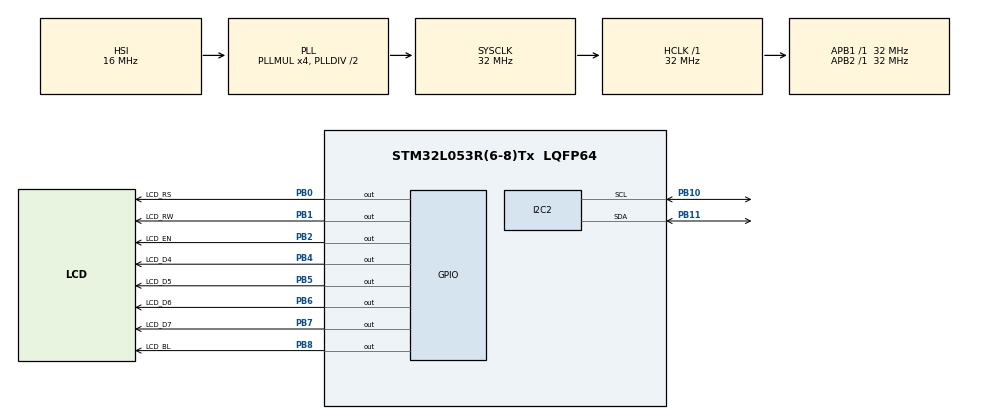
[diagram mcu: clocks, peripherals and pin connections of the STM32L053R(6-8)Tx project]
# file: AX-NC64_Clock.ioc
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I2C2.Speed=10
I2C2.Timing=0x6010C7FF
Mcu.Family=STM32L0
Mcu.Name=STM32L053R(6-8)Tx
Mcu.Package=LQFP64
PB0.GPIO_Label=LCD_RS
PB0.Signal=GPIO_Output
PB1.GPIO_Label=LCD_RW
PB1.Signal=GPIO_Output
PB10.Mode=I2C
PB10.Signal=I2C2_SCL
PB11.Mode=I2C
PB11.Signal=I2C2_SDA
PB2.GPIO_Label=LCD_EN
PB2.Signal=GPIO_Output
PB4.GPIO_Label=LCD_D4
PB4.Signal=GPIO_Output
PB5.GPIO_Label=LCD_D5
PB5.Signal=GPIO_Output
PB6.GPIO_Label=LCD_D6
PB6.Signal=GPIO_Output
PB7.GPIO_Label=LCD_D7
PB7.Signal=GPIO_Output
PB8.GPIO_Label=LCD_BL
PB8.Signal=GPIO_Output
ProjectManager.HeapSize=0x200
ProjectManager.StackSize=0x400
ProjectManager.TargetToolchain=MDK-ARM V5
RCC.AHBFreq_Value=32000000
RCC.APB1Freq_Value=32000000
RCC.APB1TimFreq_Value=32000000
RCC.APB2Freq_Value=32000000
RCC.APB2TimFreq_Value=32000000
RCC.HCLKFreq_Value=32000000
RCC.HSE_VALUE=8000000
RCC.HSI16_VALUE=16000000
RCC.HSI48_VALUE=48000000
RCC.HSI_VALUE=16000000
RCC.LSE_VALUE=32768
RCC.MSI_VALUE=2097000
RCC.PLLMUL=RCC_PLLMUL_4
RCC.SYSCLKFreq_VALUE=32000000
RCC.SYSCLKSource=RCC_SYSCLKSOURCE_PLLCLK
RCC.VCOOutputFreq_Value=64000000
board=custom

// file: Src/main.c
/* USER CODE BEGIN Header */
/**
  ******************************************************************************
  * @file           : main.c
  * @brief          : Main program body
  ******************************************************************************
  * @attention
  *
  * <h2><center>&copy; Copyright (c) 2019 STMicroelectronics.
  * All rights reserved.</center></h2>
  *
  * This software component is licensed by ST under BSD 3-Clause license,
  * the "License"; You may not use this file except in compliance with the
  * License. You may obtain a copy of the License at:
  *                        opensource.org/licenses/BSD-3-Clause
  *
  ******************************************************************************
  */
/* USER CODE END Header */

#include "main.h"

/* USER CODE BEGIN Includes */
#include <stdio.h>
#include <stdlib.h>
/* USER CODE END Includes */

/* USER CODE BEGIN PTD */
#define DS1307_ADDR (0x68<<1)
/* USER CODE END PTD */

I2C_HandleTypeDef hi2c2;

void SystemClock_Config(void);
static void MX_GPIO_Init(void);
static void MX_I2C2_Init(void);

/* USER CODE BEGIN 0 */
uint8_t bcd2dec(uint8_t num) {
  return ((num/16 * 10) + (num % 16));
}

uint8_t read_time(uint8_t *hour, uint8_t *min, uint8_t *sec, uint8_t *date, uint8_t *month, uint8_t *year) {
  uint8_t buff[7];

  // Set address to read
  buff[0] = 0x0; // read start at address 0x0
  if (HAL_I2C_Master_Transmit(&hi2c2, DS1307_ADDR, buff, 1, 1000) == HAL_ERROR) {
    // Fail !, Write error !
    return 0;
  }

  HAL_Delay(1);

  // Read 7 bytes
  if (HAL_I2C_Master_Receive(&hi2c2, DS1307_ADDR, buff, 7, 1000) == HAL_ERROR) {
    // Fail !, read error !
    return 0;
  }

  *sec = bcd2dec(buff[0] & 0x7f);
  *min = bcd2dec(buff[1]);
  *hour = bcd2dec(buff[2] & 0x3f);
  *date = bcd2dec(buff[4]);
  *month = bcd2dec(buff[5]);
  *year = bcd2dec(buff[6]);

  return 1;
}

// LCD
#define LCD_COMMAND 0
#define LCD_DATA    1

void lcd_nop() {
  HAL_Delay(1);
  HAL_GPIO_WritePin(LCD_EN_GPIO_Port, LCD_EN_Pin, 1);
  HAL_Delay(1);
  HAL_GPIO_WritePin(LCD_EN_GPIO_Port, LCD_EN_Pin, 0);
}

void lcd_data(uint8_t data) {
  HAL_GPIO_WritePin(LCD_D4_GPIO_Port, LCD_D4_Pin, (data&0x10) != 0 ? 1 : 0);
  HAL_GPIO_WritePin(LCD_D5_GPIO_Port, LCD_D5_Pin, (data&0x20) != 0 ? 1 : 0);
  HAL_GPIO_WritePin(LCD_D6_GPIO_Port, LCD_D6_Pin, (data&0x40) != 0 ? 1 : 0);
  HAL_GPIO_WritePin(LCD_D7_GPIO_Port, LCD_D7_Pin, (data&0x80) != 0 ? 1 : 0);
}

void lcd_write(uint8_t command_or_data, uint8_t data) {
  HAL_GPIO_WritePin(LCD_RS_GPIO_Port, LCD_RS_Pin, command_or_data);

  lcd_data(data&0xF0);
  lcd_nop();
  lcd_data(data<<4);
  lcd_nop();
}

void lcd_set_cursor(uint8_t line, uint8_t b) {
  lcd_write(LCD_COMMAND, (line==1 ? 0x80 : 0xC0) + b);
}

void lcd_print(char *buf) {
  int index=0;
  while(buf[index] != 0) {
    lcd_write(LCD_DATA, buf[index]);
    index++;
  }
}

void lcd_write_c(char c) {
  lcd_write(LCD_DATA, c);
}

void lcd_clear() {
  lcd_write(LCD_COMMAND, 0x01);
}

void lcd_init() {
  HAL_GPIO_WritePin(LCD_BL_GPIO_Port, LCD_BL_Pin, 1);

  HAL_Delay(20);

  HAL_GPIO_WritePin(LCD_RS_GPIO_Port, LCD_RS_Pin, 0);
  HAL_GPIO_WritePin(LCD_EN_GPIO_Port, LCD_EN_Pin, 0);

  lcd_data(0x30);
  lcd_nop();
  lcd_nop();
  lcd_nop();
  lcd_data(0x20);
  lcd_nop();
  lcd_nop();
  lcd_data(0x10);
  lcd_nop();
  lcd_data(0x00);
  lcd_nop();
  lcd_data(0xC0); // 0xD0 Show Cuser, 0xC0 Hide Cuser
  lcd_nop();

  lcd_write(LCD_COMMAND, 0x28);
  lcd_clear();
}

/* USER CODE END 0 */

int main(void)
{

  /* MCU Configuration--------------------------------------------------------*/

  /* Reset of all peripherals, Initializes the Flash interface and the Systick. */
  HAL_Init();

  /* Configure the system clock */
  SystemClock_Config();

  /* Initialize all configured peripherals */
  MX_GPIO_Init();
  MX_I2C2_Init();
  /* USER CODE BEGIN 2 */
  lcd_init();
  /* USER CODE END 2 */

  /* Infinite loop */
  /* USER CODE BEGIN WHILE */
  while (1)
  {
    uint8_t h, m, s, dd, mm, yy;

    lcd_clear();
    if (read_time(&h, &m, &s, &dd, &mm, &yy)) {
      char buff[10];

      lcd_set_cursor(1, 0);

      sprintf(buff, "%d", dd);
      lcd_print(buff);

      lcd_write_c('/');

      sprintf(buff, "%d", mm);
      lcd_print(buff);

      lcd_write_c('/');

      if (yy < 10) lcd_write_c('0');
      sprintf(buff, "%d", yy);
      lcd_print(buff);

      lcd_write_c(' ');

      if (h < 10) lcd_write_c('0');
      sprintf(buff, "%d", h);
      lcd_print(buff);

      lcd_write_c(':');

      if (m < 10) lcd_write_c('0');
      sprintf(buff, "%d", m);
      lcd_print(buff);

      lcd_write_c(':');

      if (s < 10) lcd_write_c('0');
      sprintf(buff, "%d", s);
      lcd_print(buff);

    } else {
      lcd_set_cursor(1, 0);
      lcd_print("Error !");
    }
    HAL_Delay(1000);
    /* USER CODE END WHILE */

  }
}

void SystemClock_Config(void)
{
  RCC_OscInitTypeDef RCC_OscInitStruct = {0};
  RCC_ClkInitTypeDef RCC_ClkInitStruct = {0};

  /** Configure the main internal regulator output voltage
  */
  __HAL_PWR_VOLTAGESCALING_CONFIG(PWR_REGULATOR_VOLTAGE_SCALE1);
  /** Initializes the CPU, AHB and APB busses clocks
  */
  RCC_OscInitStruct.OscillatorType = RCC_OSCILLATORTYPE_HSI;
  RCC_OscInitStruct.HSIState = RCC_HSI_ON;
  RCC_OscInitStruct.HSICalibrationValue = RCC_HSICALIBRATION_DEFAULT;
  RCC_OscInitStruct.PLL.PLLState = RCC_PLL_ON;
  RCC_OscInitStruct.PLL.PLLSource = RCC_PLLSOURCE_HSI;
  RCC_OscInitStruct.PLL.PLLMUL = RCC_PLLMUL_4;
  RCC_OscInitStruct.PLL.PLLDIV = RCC_PLLDIV_2;
  if (HAL_RCC_OscConfig(&RCC_OscInitStruct) != HAL_OK)
  {
    Error_Handler();
  }
  /** Initializes the CPU, AHB and APB busses clocks
  */
  RCC_ClkInitStruct.ClockType = RCC_CLOCKTYPE_HCLK|RCC_CLOCKTYPE_SYSCLK
                              |RCC_CLOCKTYPE_PCLK1|RCC_CLOCKTYPE_PCLK2;
  RCC_ClkInitStruct.SYSCLKSource = RCC_SYSCLKSOURCE_PLLCLK;
  RCC_ClkInitStruct.AHBCLKDivider = RCC_SYSCLK_DIV1;
  RCC_ClkInitStruct.APB1CLKDivider = RCC_HCLK_DIV1;
  RCC_ClkInitStruct.APB2CLKDivider = RCC_HCLK_DIV1;

  if (HAL_RCC_ClockConfig(&RCC_ClkInitStruct, FLASH_LATENCY_1) != HAL_OK)
  {
    Error_Handler();
  }
}

static void MX_I2C2_Init(void)
{

  hi2c2.Instance = I2C2;
  hi2c2.Init.Timing = 0x6010C7FF;
  hi2c2.Init.OwnAddress1 = 0;
  hi2c2.Init.AddressingMode = I2C_ADDRESSINGMODE_7BIT;
  hi2c2.Init.DualAddressMode = I2C_DUALADDRESS_DISABLE;
  hi2c2.Init.OwnAddress2 = 0;
  hi2c2.Init.OwnAddress2Masks = I2C_OA2_NOMASK;
  hi2c2.Init.GeneralCallMode = I2C_GENERALCALL_DISABLE;
  hi2c2.Init.NoStretchMode = I2C_NOSTRETCH_DISABLE;
  if (HAL_I2C_Init(&hi2c2) != HAL_OK)
  {
    Error_Handler();
  }
  /** Configure Analogue filter
  */
  if (HAL_I2CEx_ConfigAnalogFilter(&hi2c2, I2C_ANALOGFILTER_ENABLE) != HAL_OK)
  {
    Error_Handler();
  }
  /** Configure Digital filter
  */
  if (HAL_I2CEx_ConfigDigitalFilter(&hi2c2, 0) != HAL_OK)
  {
    Error_Handler();
  }

}

static void MX_GPIO_Init(void)
{
  GPIO_InitTypeDef GPIO_InitStruct = {0};

  /* GPIO Ports Clock Enable */
  __HAL_RCC_GPIOB_CLK_ENABLE();

  /*Configure GPIO pin Output Level */
  HAL_GPIO_WritePin(GPIOB, LCD_RS_Pin|LCD_RW_Pin|LCD_EN_Pin|LCD_D4_Pin
                          |LCD_D5_Pin|LCD_D6_Pin|LCD_D7_Pin|LCD_BL_Pin, GPIO_PIN_RESET);

  /*Configure GPIO pins : LCD_RS_Pin LCD_RW_Pin LCD_EN_Pin LCD_D4_Pin
                           LCD_D5_Pin LCD_D6_Pin LCD_D7_Pin LCD_BL_Pin */
  GPIO_InitStruct.Pin = LCD_RS_Pin|LCD_RW_Pin|LCD_EN_Pin|LCD_D4_Pin
                          |LCD_D5_Pin|LCD_D6_Pin|LCD_D7_Pin|LCD_BL_Pin;
  GPIO_InitStruct.Mode = GPIO_MODE_OUTPUT_PP;
  GPIO_InitStruct.Pull = GPIO_NOPULL;
  GPIO_InitStruct.Speed = GPIO_SPEED_FREQ_LOW;
  HAL_GPIO_Init(GPIOB, &GPIO_InitStruct);

}

void Error_Handler(void)
{
}

/************************ (C) COPYRIGHT STMicroelectronics *****END OF FILE****/
